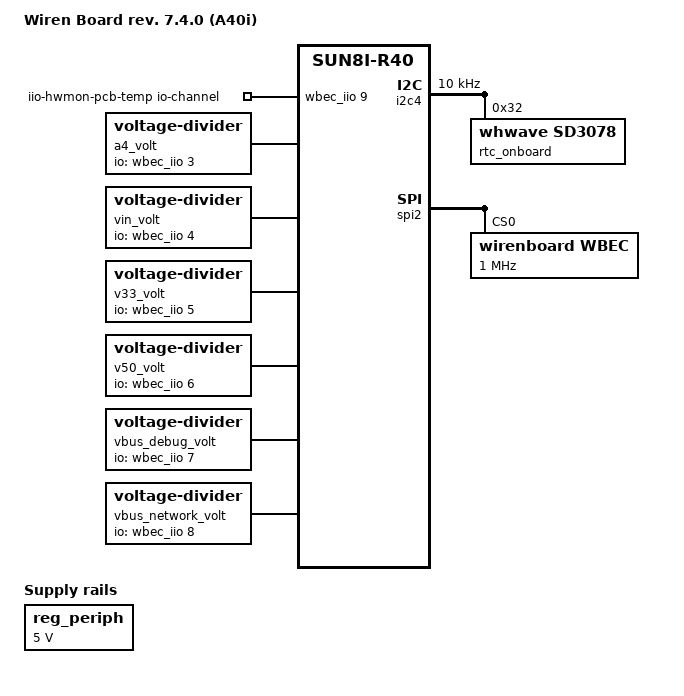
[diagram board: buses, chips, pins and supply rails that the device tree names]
/dts-v1/;
#include "sun8i-r40-wirenboard73x.dtsi"

/ {
	model = "Wiren Board rev. 7.4.0 (A40i)";
	compatible = "wirenboard,wirenboard-740", "wirenboard,wirenboard-720", "wirenboard,wirenboard-700", "allwinner,sun8i-r40";
};

&pio {
	gpio-line-names =
		/* PA */
		"SOM ETH1 RXD3", "SOM ETH1 RXD2", "SOM ETH1 RXD1", "SOM ETH1 RXD0", /*  0 - 3 */
		"SOM ETH1 TXD3", "SOM ETH1 TXD2", "SOM ETH1 TXD1", "SOM ETH1 TXD0", /*  4 - 7 */
		"SOM ETH1 RXCK", "SOM ETH1 RXERR", "SOM ETH1 RXDV", "SOM ETH1 MDC", /*  8 - 11 */
		"SOM ETH1 MDIO", "SOM ETH1 TXEN", "SOM ETH1 TXCK", "SOM ETH1 CRS", /* 12 - 15 */
		"CAN TX", "CAN RX", "", "", /* 16 - 19 */
		"", "", "", "", /* 20 - 23 */
		"", "", "", "", /* 24 - 27 */
		"", "", "", "", /* 28 - 31 */
		/* PB */
		"SOM PMIC SCL", "SOM PMIC SDA", "SIM_SELECT", "BUZZER", /*  0 - 3 */
		"MOD1 RTS", "SODIMM:111 [NC]", "SODIMM:113 [NC]", "SODIMM:121 [NC]", /*  4 - 7 */
		"SODIMM:123 [NC]", "RED LED", "GREEN LED", "", /*  8 - 11 */
		"SODIMM:125 [NC]", "ON PERIPH", "EC CS", "EC CLK", /* 12 - 15 */
		"EC MOSI", "EC MISO", "WBIO SCL", "WBIO SDA", /* 16 - 19 */
		"MOD3 RTS", "CAN TXRX ON", "DEBUG UART TX", "DEBUG UART RX", /* 20 - 23 */
		"", "", "", "", /* 24 - 27 */
		"", "", "", "", /* 28 - 31 */
		/* PC */
		"MOD4 SPI MOSI", "MOD4 SPI MISO", "MOD4 SPI CLK", "SOM WI-FI ON", /*  0 - 3 */
		"SOM BT ON", "MICROSD CD", "SOM EMMC CMD", "SOM EMMC CLK", /*  4 - 7 */
		"SOM EMMC D0", "SOM EMMC D1", "SOM EMMC D2", "SOM EMMC D3", /*  8 - 11 */
		"SOM EMMC D4", "SOM EMMC D5", "SOM EMMC D6", "SOM EMMC D7", /* 12 - 15 */
		"SOM WI-FI HOST_WAKE", "SOM BT WAKE", "SOM BT HOST_WAKE", "RS-485-1 RTS", /* 16 - 19 */
		"MOD2 RTS", "RS-485-2 RTS", "SODIMM:16 [NC]", "MOD4 SPI CS", /* 20 - 23 */
		"SOM EMMC RST", "", "", "", /* 24 - 27 */
		"", "", "", "", /* 28 - 31 */
		/* PD */
		"LVDS D0 P", "LVDS D0 N", "LVDS D1 P", "LVDS D1 N", /*  0 - 3 */
		"LVDS D2 P", "LVDS D2 N", "LVDS DCK P", "LVDS DCK N", /*  4 - 7 */
		"LVDS D3 P", "LVDS D3 N", "A4 OUT", "A3 OUT", /*  8 - 11 */
		"A2 OUT", "A1 OUT", "PUSHBUTTON", "SODIMM:170 [NC]", /* 12 - 15 */
		"SODIMM:172 [NC]", "SODIMM:174 [NC]", "SWCLK/BOOT0", "EC RESET", /* 16 - 19 */
		"USB0 ID", "SODIMM:182 [NC]", "SODIMM:184 [NC]", "[NC]", /* 20 - 23 */
		"WI-FI ON", "GSM STATUS", "GSM PWRKEY", "GSM ON", /* 24 - 27 */
		"", "", "", "", /* 28 - 31 */
		/* PE */
		"USB0 ON", "5V_OUT ON", "SODIMM:84 [NC]", "SODIMM:82 [NC]",  /*  0 - 3 */
		"RS-485-2 TERMINATION", "SODIMM:68 [NC]", "SODIMM:66 [NC]", "SODIMM:64 [NC]", /*  4 - 7 */
		"SODIMM:62 [NC]", "RS-485-1 TERMINATION", "RS-485-2 FAILSAFE", "RS-485-1 FAILSAFE", /*  8 - 11 */
		"", "", "", "", /* 12 - 15 */
		"", "", "", "", /* 16 - 19 */
		"", "", "", "", /* 20 - 23 */
		"", "", "", "", /* 24 - 27 */
		"", "", "", "", /* 28 - 31 */
		/* PF */
		"MICROSD D1", "MICROSD D0", "MICROSD CLK", "MICROSD CMD", /*  0 - 3 */
		"MICROSD D3", "MICROSD D2", "", "", /*  4 - 7 */
		"", "", "", "", /*  8 - 11 */
		"", "", "", "", /* 12 - 15 */
		"", "", "", "", /* 16 - 19 */
		"", "", "", "", /* 20 - 23 */
		"", "", "", "", /* 24 - 27 */
		"", "", "", "", /* 28 - 31 */
		/* PG */
		"SOM WI-FI CMD", "SOM WI-FI CLK", "SOM WI-FI D0", "SOM WI-FI D1", /*  0 - 3 */
		"SOM WI-FI D2", "SOM WI-FI D3", "SOM BT TX", "SOM BT RX", /*  4 - 7 */
		"SOM BT RESERVED", "SOM BT RESERVED", "RS-485-2 TX", "RS-485-2 RX", /*  8 - 11 */
		"", "", "", "", /* 12 - 15 */
		"", "", "", "", /* 16 - 19 */
		"", "", "", "", /* 20 - 23 */
		"", "", "", "", /* 24 - 27 */
		"", "", "", "", /* 28 - 31 */
		/* PH PH0-PH21 interrupts*/
		"MOD4 TX", "MOD4 RX", "W1", "A3 IN", /*  0 - 3 */
		"A4 IN", "CAN/UART RX ALT", "A2 IN", "A1 IN", //*  4 - 7 */
		"SOM ETH0 RXD3", "SOM ETH0 RXD2", "SOM ETH0 RXD1", "SOM ETH0 RXD0", /*  8 - 11 */
		"SOM ETH0 RST", "SOM ETH1 RST", "SOM ETH0 TXD3", "SOM ETH0 TXD2", /* 12 - 15 */
		"SOM ETH0 TXD1", "SOM ETH0 TXD0", "SOM ETH0 RXCK", "SOM ETH0 RXERR", /* 16 - 19 */
		"SOM ETH0 RXDV", "SOM ETH0 MDC", "SOM ETH0 MDIO", "SOM ETH0 TXEN", /* 20 - 23 */
		"SOM ETH0 TXCK", "SOM ETH0 CRS", "SOM ETH0 COL", "SOM LCD BACKLIGHT ON", /* 24 - 27 */
		"", "", "", "", /* 28 - 31 */
		/* PI PI10-PI19 interrupts*/
		"W1 UP", "W2 UP", "CR_RTC SCL", "CR_RTC SDA", /*  0 - 3 */
		"SODIMM: 75 [NC]", "SODIMM: 77 [NC]", "SODIMM: 79 [NC]", "SODIMM: 81 [NC]", /*  4 - 7 */
		"SODIMM: 83 [NC]", "SODIMM: 85 [NC]", "MOD3 TX", "MOD3 RX", /*  8 - 11 */
		"MOD2 TX", "MOD2 RX", "MOD4 RTS", "EC INT", /* 12 - 15 */
		"WBIO INT", "W2", "RS-485-1 TX", "RS-485-1 RX", /* 16 - 19 */
		"MOD1 TX", "MOD1 RX", "", "", /* 20 - 23 */
		"", "", "", "", /* 24 - 27 */
		"", "", "", ""; /* 28 - 31 */

	/* WBEC */
	pinctrl_wbec_i2c_gpio: wbec-i2c-pb-pins {
		pins = "PB14", "PB15", "PB16", "PB17";
		function = "gpio_in";
		bias-pull-up;
	};
};

&pinctrl_mod3_de_gpio {
	pins = "PB20";
};

&onewire_w1 {
	pu-gpios = <PIN_PI 0 GPIO_ACTIVE_HIGH>;
};

&onewire_w2 {
	gpios = <PIN_PI 17 (GPIO_ACTIVE_HIGH | GPIO_OPEN_DRAIN)>;
	pu-gpios = <PIN_PI 1 GPIO_ACTIVE_HIGH>;
};


/* Onboard RTC is moved from i2c3 to i2c4 */
/* Aslo added ECC chip and removed temp sensor */
/delete-node/ &i2c3;
&i2c4 {
	status = "okay";
	clock-frequency = <10000>;

	rtc_onboard: rtc@32 {
		compatible = "whwave,sd3078";	// TODO compatible with SD3178 ???
		reg = <0x32>;
	};
};

&i2c4_pins {
	bias-pull-up;
};


/ {
	/delete-node/ discrete-watchdog;

	i2c_wbec: i2c_wbec {
		compatible = "i2c-gpio";
		gpios = <PIN_PB 16 GPIO_ACTIVE_HIGH /* sda/mosi */
				PIN_PB 17 GPIO_ACTIVE_HIGH /* scl/miso */
			>;
		i2c-gpio,delay-us = <2>;	/* ~100 kHz */

		pinctrl-0 = <&pinctrl_wbec_i2c_gpio>;
		pinctrl-names = "default";
		#address-cells = <1>;
		#size-cells = <0>;
		status = "disabled";
	};

	regulators {
		reg_periph: vdd-periph-regulator {
			compatible = "regulator-fixed";
			regulator-name = "vdd-periph";
			regulator-min-microvolt = <5000000>;
			regulator-max-microvolt = <5000000>;
			regulator-always-on;

			gpio = <PIN_PB 13 GPIO_ACTIVE_HIGH>;
			enable-active-high;
		};
	};

	wirenboard {
		analog-inputs {
			A4 {
				iio-device = <&a4_volt>;
				decimal-places = <1>;
				averaging-window = <1>;
				sort-order = <2>;
			};

			V3_3 {
				iio-device = <&v33_volt>;
				decimal-places = <3>;
				averaging-window = <1>;
				sort-order = <4>;
			};

			V5_0 {
				iio-device = <&v50_volt>;
				decimal-places = <3>;
				averaging-window = <1>;
				sort-order = <5>;
			};

			Vbus_debug {
				iio-device = <&vbus_debug_volt>;
				decimal-places = <2>;
				averaging-window = <1>;
				sort-order = <6>;
			};

			Vbus_network {
				iio-device = <&vbus_network_volt>;
				decimal-places = <2>;
				averaging-window = <1>;
				sort-order = <7>;
			};
		};

		gpios {
			/delete-node/ D1_OUT;
			/delete-node/ D1_IN;

			A4_OUT {
				io-gpios = <PIN_PD 10 GPIO_ACTIVE_HIGH>;
				gpio-xlate-type = "bank_pin";
				gpio-pins-per-bank = <32>;
				output-low;
				sort-order = <3>;
			};

			A4_IN {
				io-gpios = <PIN_PH 4 GPIO_ACTIVE_LOW>;
				gpio-xlate-type = "bank_pin";
				gpio-pins-per-bank = <32>;
				input;
				sort-order = <7>;
			};

			V_OUT {
				/delete-property/ gpio-xlate-type;
				/delete-property/ gpio-pins-per-bank;

				io-gpios = <&wbec_gpio 4 GPIO_ACTIVE_HIGH>;
				output-high;
			};
		};

		hwmon-nodes {
			pcbtemp {
				hwmon-node-name = "iio-hwmon-pcb-temp";
			};
		};
	};

	iio-hwmon-pcb-temp {
		compatible = "iio-hwmon";
		io-channels = <&wbec_iio 9>;
	};

	a4_volt: a4-volt {
		compatible = "voltage-divider";
		io-channels = <&wbec_iio 3>;
		#io-channel-cells = <1>;

		output-ohms = <6980>;
		full-ohms = <95680>;
	};

	vin_volt: vin-volt {
		compatible = "voltage-divider";
		io-channels = <&wbec_iio 4>;
		#io-channel-cells = <1>;

		output-ohms = <1>;
		full-ohms = <1>;
	};

	v33_volt: v33-volt {
		compatible = "voltage-divider";
		io-channels = <&wbec_iio 5>;
		#io-channel-cells = <1>;

		output-ohms = <1>;
		full-ohms = <1>;
	};

	v50_volt: v50-volt {
		compatible = "voltage-divider";
		io-channels = <&wbec_iio 6>;
		#io-channel-cells = <1>;

		output-ohms = <1>;
		full-ohms = <1>;
	};

	vbus_debug_volt: vbus-debug-volt {
		compatible = "voltage-divider";
		io-channels = <&wbec_iio 7>;
		#io-channel-cells = <1>;

		output-ohms = <1>;
		full-ohms = <1>;
	};

	vbus_network_volt: vbus-network-volt {
		compatible = "voltage-divider";
		io-channels = <&wbec_iio 8>;
		#io-channel-cells = <1>;

		output-ohms = <1>;
		full-ohms = <1>;
	};
};

/delete-node/ &pinctrl_rtc_clkout_gpio;

&vin {
	gpios = <&wbec_gpio 5 GPIO_ACTIVE_LOW>;
};

&a1_volt {
	io-channels = <&wbec_iio 0>;

	output-ohms = <6980>;
	full-ohms = <95680>;
};

&a2_volt {
	io-channels = <&wbec_iio 1>;

	output-ohms = <6980>;
	full-ohms = <95680>;
};

&a3_volt {
	io-channels = <&wbec_iio 2>;

	output-ohms = <6980>;
	full-ohms = <95680>;
};

&vin_volt {
	compatible = "voltage-divider";
	io-channels = <&wbec_iio 4>;

	output-ohms = <1>;
	full-ohms = <1>;
};


&spi2 {
	pinctrl-0 = <&spi2_pb_pins>,
			<&spi2_cs0_pb_pin>;
	pinctrl-names = "default";
	status = "okay";

	wbec: wbec@0 {
		spi-max-frequency = <1000000>;

		compatible = "wirenboard,wbec";
		reg = <0>;
		status = "okay";
		#address-cells = <1>;
		#size-cells = <0>;

		wakeup-source;

		wbec_gpio: wbec-gpio@0 {
			compatible = "wirenboard,wbec-gpio";
			reg = <0>;

			gpio-controller;
			#gpio-cells = <2>;
			linux,base = <384>;
			ngpios = <6>;
			gpio-line-names = "EC A1", "EC A2", "EC A3", "EC A4", "EC V OUT", "EC WBMZ STATUS";
		};

		wbec_iio: wbec-iio@0 {
			compatible = "wirenboard,wbec-iio";
			reg = <0>;
			#io-channel-cells = <1>;
		};
	};
};




/** TODO

ON_PERIPH 		???? -> PB13
TERM-485-2		PE05 -> PE04
TERM-485-1		PE06 -> PE09
RAST-485-2		PE07 -> PE10
RAST-485-1		PE08 -> PE11
CAN-OFF			PE11 -> PB21

Add EC

*/
